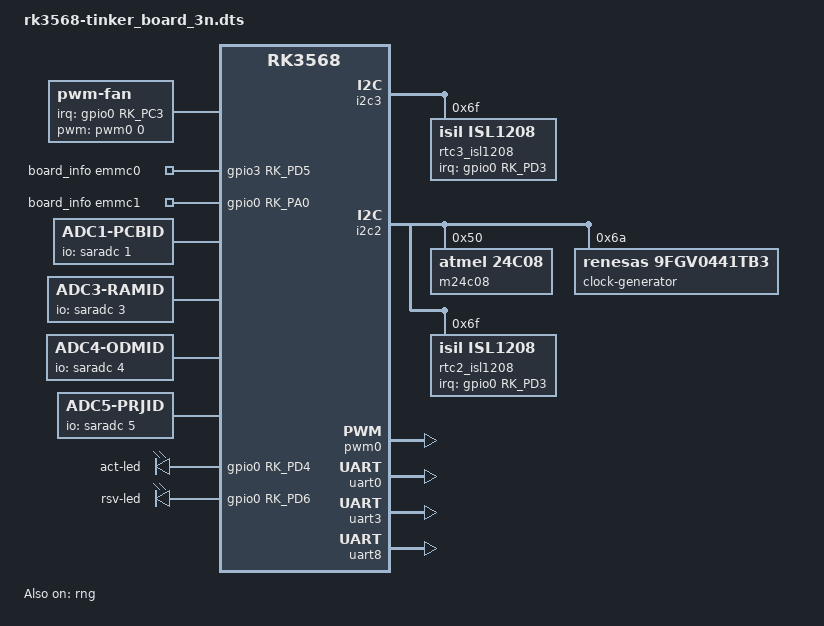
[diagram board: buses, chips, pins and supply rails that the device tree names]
// SPDX-License-Identifier: (GPL-2.0+ OR MIT)
/*
 * Copyright (c) 2020 Rockchip Electronics Co., Ltd.
 *
 */

#include "rk3568-tinker_board_3n.dtsi"
#include <dt-bindings/display/rockchip_vop.h>

/ {
	chosen: chosen {
		bootargs = "earlycon=uart8250,mmio32,0xfe660000 console=ttyFIQ0";
	};

	aliases {
		mmc0 = &sdmmc0;
		mmc1 = &sdmmc1;
		mmc2 = &sdhci;
		mmc3 = &sdmmc2;
	};

	fiq-debugger {
		compatible = "rockchip,fiq-debugger";
		rockchip,serial-id = <2>;
		rockchip,wake-irq = <0>;
		/* If enable uart uses irq instead of fiq */
		rockchip,irq-mode-enable = <1>;
		rockchip,baudrate = <1500000>;  /* Only 115200 and 1500000 */
		interrupts = <GIC_SPI 252 IRQ_TYPE_LEVEL_LOW>;
		pinctrl-names = "default";
		pinctrl-0 = <&uart2m0_xfer>;
		status = "okay";
	};

	debug: debug@fd904000 {
		compatible = "rockchip,debug";
		reg = <0x0 0xfd904000 0x0 0x1000>,
			<0x0 0xfd905000 0x0 0x1000>,
			<0x0 0xfd906000 0x0 0x1000>,
			<0x0 0xfd907000 0x0 0x1000>;
	};

	cspmu: cspmu@fd90c000 {
		compatible = "rockchip,cspmu";
		reg = <0x0 0xfd90c000 0x0 0x1000>,
			<0x0 0xfd90d000 0x0 0x1000>,
			<0x0 0xfd90e000 0x0 0x1000>,
			<0x0 0xfd90f000 0x0 0x1000>;
	};

	fan: pwm-fan {
		compatible = "pwm-fan";
		#cooling-cells = <2>;
		pwms = <&pwm0 0 40000 0>;
		interrupt-parent = <&gpio0>;
		interrupts = <RK_PC3 IRQ_TYPE_EDGE_FALLING>;
		pulses-per-revolution = <2>;
	};

	board_info: board-info {
		compatible = "board-info";

		model = "rk3568";

		emmc0-gpios = <&gpio3 RK_PD5 GPIO_ACTIVE_HIGH>;
		emmc1-gpios = <&gpio0 RK_PA0 GPIO_ACTIVE_HIGH>;
	};

	ADC1-PCBID {
		compatible = "ADC1-PCBID";
		io-channels = <&saradc 1>;
		io-channel-names = "ADC1-PCBID";
	};

	ADC3-RAMID {
		compatible = "ADC3-RAMID";
		io-channels = <&saradc 3>;
		io-channel-names = "ADC3-RAMID";
	};

	ADC4-ODMID {
		compatible = "ADC4-ODMID";
		io-channels = <&saradc 4>;
		io-channel-names = "ADC4-ODMID";
	};

	ADC5-PRJID {
		compatible = "ADC5-PRJID";
		io-channels = <&saradc 5>;
		io-channel-names = "ADC5-PRJID";
	};

	gpio-leds {
		compatible = "gpio-leds";

		act-led {
			gpios = <&gpio0 RK_PD4 GPIO_ACTIVE_HIGH>;
			linux,default-trigger="mmc0";
		};

		rsv-led {
			gpios = <&gpio0 RK_PD6 GPIO_ACTIVE_HIGH>;
			linux,default-trigger="none";
		};
	};
};

&reserved_memory {
	cma {
		compatible = "shared-dma-pool";
		inactive;
		reusable;
		reg = <0x0 0x10000000 0x0 0x00800000>;
		linux,cma-default;
	};

	ramoops: ramoops@110000 {
		compatible = "ramoops";
		reg = <0x0 0x110000 0x0 0xf0000>;
		record-size = <0x20000>;
		console-size = <0x80000>;
		ftrace-size = <0x00000>;
		pmsg-size = <0x50000>;
	};
};

&rng {
	status = "okay";
};

&rockchip_suspend {
	status = "okay";

	rockchip,sleep-mode-config = <
                (0
                | RKPM_SLP_CENTER_OFF
                | RKPM_SLP_HW_PLLS_OFF
                | RKPM_SLP_PMUALIVE_32K
                | RKPM_SLP_32K_PVTM
                | RKPM_SLP_PMIC_LP
                )
                >;
	rockchip,wakeup-config = <
		(0
		| RKPM_GPIO_WKUP_EN
		| RKPM_USB_WKUP_EN
		| RKPM_CPU0_WKUP_EN
		| RKPM_CPU3_WKUP_EN
		)
		>;
};

&vop {
	support-multi-area;
};

&vp0 {
	rockchip,plane-mask = <(1 << ROCKCHIP_VOP2_CLUSTER0 | 1 << ROCKCHIP_VOP2_SMART0 | 1 << ROCKCHIP_VOP2_ESMART0)>;
	rockchip,primary-plane = <ROCKCHIP_VOP2_SMART0>;
	cursor-win-id = <ROCKCHIP_VOP2_CLUSTER0>;
};

&vp1 {
	rockchip,plane-mask = <(1 << ROCKCHIP_VOP2_CLUSTER1 | 1 << ROCKCHIP_VOP2_SMART1 | 1 << ROCKCHIP_VOP2_ESMART1)>;
	rockchip,primary-plane = <ROCKCHIP_VOP2_SMART1>;
	cursor-win-id = <ROCKCHIP_VOP2_CLUSTER1>;
};

&pinctrl {
        rtc {
                pinctrl_externalrtc_reg: externalrtcreggrp {
                        rockchip,pins = <0 RK_PD3 RK_FUNC_GPIO &pcfg_pull_up>;
                };
        };

        eeprom {
                tb3_eeprom: tb3-eeprom {
                        rockchip,pins = <1 RK_PB2 RK_FUNC_GPIO &pcfg_pull_up>;
                };
        };
};

&i2c3 {
        pinctrl-0 = <&i2c3m1_xfer>;
        status = "okay";

        rtc3_isl1208: rtc3@6f {
                compatible = "isil,isl1208";
                pinctrl-names = "default";
                pinctrl-0 = <&pinctrl_externalrtc_reg>;
                interrupt-names = "irq";
                interrupts-extended = <&gpio0 RK_PD3 IRQ_TYPE_EDGE_FALLING>;
                reg = <0x6f>;
                status = "okay";
        };
};

&i2c2 {
	status = "okay";
	m24c08@50 {
		compatible = "atmel,24c08";
		reg = <0x50>;
                pinctrl-names = "default";
                pinctrl-0 = <&tb3_eeprom>;
		status = "okay";
	};

        clock-generator@6a {
                compatible = "renesas,9fgv0441tb3";
                reg = <0x6a>;
                status = "okay";
        };

        rtc2_isl1208: rtc2@6f {
                compatible = "isil,isl1208";
                pinctrl-names = "default";
                pinctrl-0 = <&pinctrl_externalrtc_reg>;
                interrupt-names = "irq";
                interrupts-extended = <&gpio0 RK_PD3 IRQ_TYPE_EDGE_FALLING>;
                reg = <0x6f>;
                status = "okay";
        };
};

&pwm0 {
	status = "okay";
};

&pwm4 {
	status = "disabled";
};

&uart0_enable {
	gpio = <&gpio2 RK_PD2 GPIO_ACTIVE_HIGH>;
	enable-active-high;
	regulator-always-on;
};

&uart0 {
	power-supply = <&uart0_enable>;
	status = "okay";
	pinctrl-names = "default";
	pinctrl-0 = <&uart0_xfer &uart0_rtsn &uart0_ctsn>;

	uart0_en: uart0-en {
		rockchip,pins =
			<2 RK_PD2 RK_FUNC_GPIO &pcfg_pull_up>;
	};
};

&uart3 {
	status = "okay";
	pinctrl-names = "default";
	pinctrl-0 = <&uart3m1_xfer &uart3_rs232>;
};

&uart8_enable {
	gpio = <&gpio3 RK_PA4 GPIO_ACTIVE_HIGH>;
	enable-active-high;
	regulator-always-on;
};

&uart8 {
	power-supply = <&uart8_enable>;
	status = "okay";
	pinctrl-names = "default";
	pinctrl-0 = <&uart8m0_xfer &uart8m0_rtsn &uart8m0_ctsn>;

	uart8_en: uart8-en {
		rockchip,pins =
			<3 RK_PA4 RK_FUNC_GPIO &pcfg_pull_up>;
	};
};
